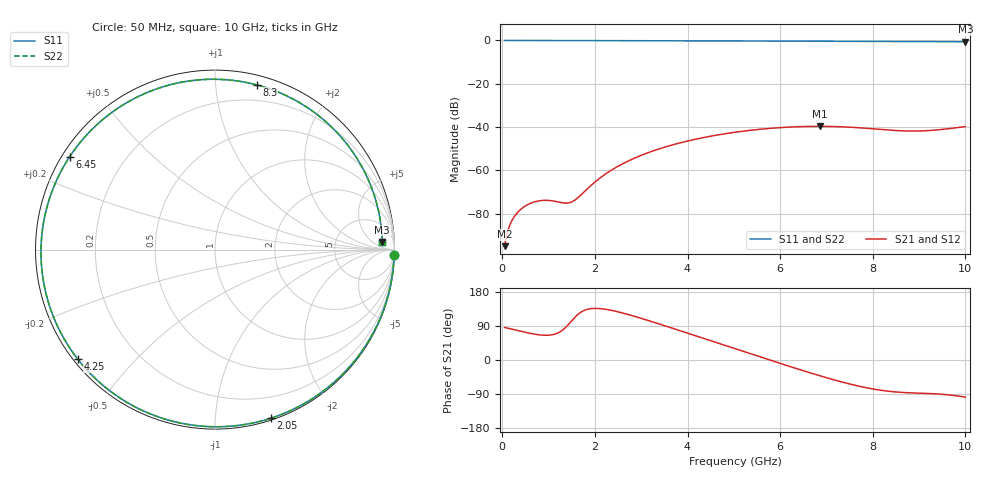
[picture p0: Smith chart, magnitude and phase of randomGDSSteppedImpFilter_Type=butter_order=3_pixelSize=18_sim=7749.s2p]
! freq	dB(S11)	phase(S11)	dB(S12)	phase(S12)
!  dB(S21)	phase(S21)	dB(S22)	phase(S22)
!S-par simulation data
#  GHz  S  DB  R 50
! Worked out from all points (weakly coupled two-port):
!   200 points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, 50 MHz to 10 GHz, reference 50 ohm
!   highest |S21| = -39.66 dB at 6.85 GHz (marker M1); lowest = -95.0 dB at 50 MHz (marker M2)
!   lowest |S11| = -0.6 dB at 10 GHz (marker M3), VSWR 28.89, Z = 1e+03 + j664 ohm
!   |S11| at or under -10 dB: nowhere
!   |S22| runs from -0.6 to 0.0 dB; largest |S21 - S12| = 0
!   S11 on the Smith chart (normalised r, x): 50 MHz: 3, -65; 2.05 GHz: 0.02, -1.38; 4.25 GHz: 0.01, -0.35; 6.45 GHz: 0.02, +0.29; 8.3 GHz: 0.07, +1.28; 10 GHz: 20, +13
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0.05  -0.01 -1.8  -94.99 85.8  -94.99 85.8  -0.01 -1.8
0.3  -0.02 -10.8  -80.17 78.9  -80.17 78.9  -0.02 -10.8
0.55  -0.03 -19.8  -75.79 71.7  -75.79 71.7  -0.03 -19.8
0.8  -0.04 -28.7  -74.04 66.3  -74.04 66.3  -0.04 -28.7
1.45  -0.06 -51.4  -74.93 96.8  -74.93 96.8  -0.06 -51.4
1.75  -0.08 -61.6  -70.28 129.8  -70.28 129.8  -0.08 -61.6
2.05  -0.09 -71.7  -64.51 136.1  -64.51 136.1  -0.09 -71.7
2.65  -0.11 -91.3  -56.39 122.3  -56.39 122.3  -0.11 -91.3
3.4  -0.15 -115.1  -49.98 94.7  -49.98 94.7  -0.15 -115.1
4.25  -0.19 -141.4  -45.26 60.9  -45.26 60.9  -0.19 -141.4
5.05  -0.24 -166.3  -42.32 28.8  -42.32 28.8  -0.24 -166.3
5.75  -0.29 171.2  -40.66 0.9  -40.66 0.9  -0.29 171.2
6.45  -0.34 147.4  -39.79 -26.4  -39.79 -26.4  -0.34 147.4
6.7  -0.36 138.5  -39.68 -35.8  -39.68 -35.8  -0.36 138.5
6.85  -0.38 133.0  -39.66 -41.3  -39.66 -41.3  -0.38 133.0
7.6  -0.43 104.4  -40.18 -66.2  -40.18 -66.2  -0.43 104.4
8.3  -0.47 75.8  -41.30 -81.9  -41.30 -81.9  -0.47 75.7
8.35  -0.48 73.6  -41.38 -82.6  -41.38 -82.6  -0.48 73.6
8.8  -0.50 54.4  -41.84 -86.6  -41.84 -86.6  -0.50 54.4
9.25  -0.53 34.9  -41.56 -88.7  -41.56 -88.7  -0.53 34.9
9.65  -0.56 17.6  -40.72 -92.2  -40.72 -92.2  -0.56 17.6
10  -0.60 2.6  -39.79 -97.9  -39.79 -97.9  -0.60 2.6
